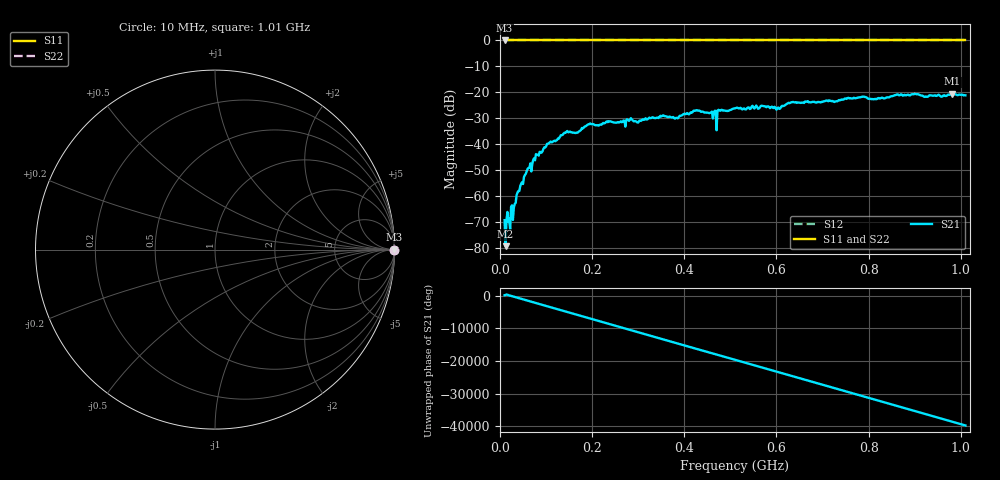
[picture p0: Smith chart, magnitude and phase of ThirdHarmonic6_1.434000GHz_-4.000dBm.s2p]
! 8/16/2025 4:32:46 PM
! C:\ANRITSUVNA\TEMP\TEMP.S2P
! CHANNEL.1
! TR.MEASUREMENT
! RAW.DATA
! RF.CORRECTION.OFF
! AVERAGING.OFF
! IF.BANDWIDTH: 5KHZ
! SWEEPTYPE:  FREQ.SWEEP(Linear)
! Reference Plane Port Info
! PORT:  PORT1  PORT2
! DISTANCE:  0  m  0  m
! TIME:  0  s  0  s
! PHASE.OFFSET:  0  deg.  0  deg.
! LOSS:  0  dB  0  dB
! REF.LOSS:  0  dB  0  dB
! REF.FREQ:  0  Hz  0  Hz
! Power Info
! POWER:  -20  dBm  -20  dBm
! EFF.POWER:  -20  dBm  -20  dBm
! SOURCE.ATTEN:  0  dB  0  dB
! TEST.ATTEN:  0  dB  0  dB
# GHZ S RI R 50.0
! FREQ.GHZ  S11RE  S11IM  S21RE  S21IM  S12RE  S12IM  S22RE  S22IM
!; PortSelection: Port_12
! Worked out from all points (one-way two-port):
!   501 points, 10 MHz to 1.01 GHz, reference 50 ohm
!   highest |S21| = -20.46 dB at 982 MHz (marker M1); lowest = -79.1 dB at 12 MHz (marker M2)
!   lowest |S11| = 0.0 dB at 10 MHz (marker M3)
!   |S11| at or under -10 dB: nowhere
!   |S22| runs from 0.0 to 0.0 dB; largest |S21 - S12| = 1.1
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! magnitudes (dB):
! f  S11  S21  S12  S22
! 10 MHz  0.0  -69.1  0.0  0.0
! 12 MHz  0.0  -79.1  0.0  0.0
! 26 MHz  0.0  -63.4  0.0  0.0
! 40 MHz  0.0  -57.9  0.0  0.0
! 56 MHz  0.0  -51.3  0.0  0.0
! 76 MHz  0.0  -46.1  0.0  0.0
! 142 MHz  0.0  -35.5  0.0  0.0
! 178 MHz  0.0  -33.6  0.0  0.0
! 194 MHz  0.0  -32.2  0.0  0.0
! 344 MHz  0.0  -29.8  0.0  0.0
! 382 MHz  0.0  -29.8  0.0  0.0
! 428 MHz  0.0  -26.9  0.0  0.0
! 464 MHz  0.0  -27.6  0.0  0.0
! 466 MHz  0.0  -27.1  0.0  0.0
! 476 MHz  0.0  -26.8  0.0  0.0
! 510 MHz  0.0  -26.1  0.0  0.0
! 604 MHz  0.0  -25.8  0.0  0.0
! 632 MHz  0.0  -23.8  0.0  0.0
! 678 MHz  0.0  -23.6  0.0  0.0
! 844 MHz  0.0  -21.9  0.0  0.0
! 982 MHz  0.0  -20.5  0.0  0.0
! 1.01 GHz  0.0  -21.1  0.0  0.0
